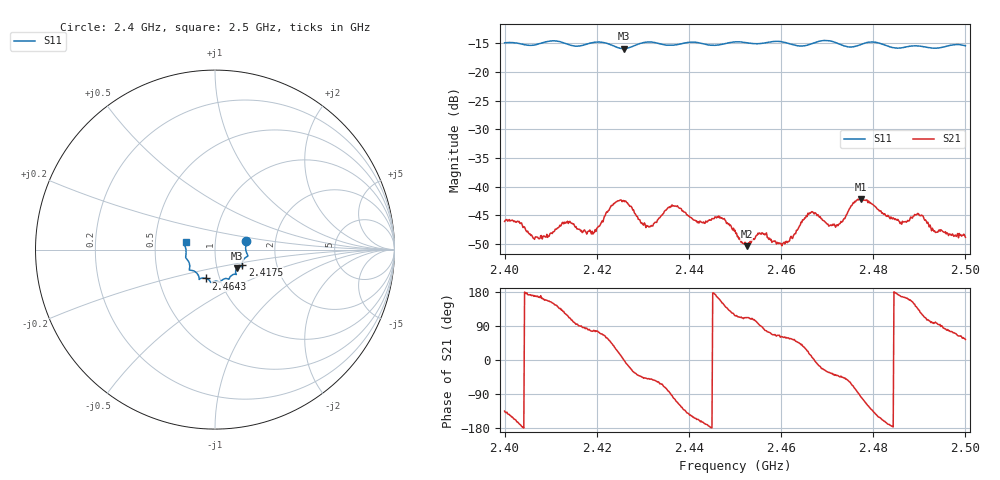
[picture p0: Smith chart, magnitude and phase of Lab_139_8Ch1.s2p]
# Hz S RI R 50
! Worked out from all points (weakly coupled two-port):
!   601 points, 2.4 GHz to 2.5 GHz, reference 50 ohm
!   highest |S21| = -42.12 dB at 2.4773 GHz (marker M1); lowest = -50.4 dB at 2.4525 GHz (marker M2)
!   lowest |S11| = -15.9 dB at 2.4258 GHz (marker M3), VSWR 1.38, Z = 62.3 - j13.2 ohm
!   |S11| at or under -10 dB: start of sweep to end of sweep
!   S12 and S22 are empty: the file has one direction only
!   S11 on the Smith chart (normalised r, x): 2.4 GHz: 1.41, +0.14; 2.4175 GHz: 1.34, -0.23; 2.4643 GHz: 0.86, -0.29; 2.5 GHz: 0.72, +0.06
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2.4e9  0.1728 0.0485  -0.00352 -0.00354  0 0  0 0
2.406667e9  0.1722 -0.00628  -0.00357 0.000766  0 0  0 0
2.413167e9  0.1727 -0.042  -0.00257 0.00407  0 0  0 0
2.416667e9  0.1527 -0.0743  2.09e-05 0.00417  0 0  0 0
2.4175e9  0.1518 -0.0836  0.000517 0.00406  0 0  0 0
2.425833e9  0.1217 -0.1036  0.00757 5.54e-05  0 0  0 0
2.430167e9  0.1176 -0.1372  0.00308 -0.00345  0 0  0 0
2.433333e9  0.1127 -0.1372  0.00281 -0.00438  0 0  0 0
2.436833e9  0.0883 -0.1474  -0.00141 -0.00662  0 0  0 0
2.447e9  0.0402 -0.169  -0.00481 0.00228  0 0  0 0
2.45e9  0.0288 -0.1809  -0.00189 0.00372  0 0  0 0
2.4525e9  0.0203 -0.1789  -0.00113 0.00282  0 0  0 0
2.4555e9  -0.00255 -0.1772  -4.87e-05 0.0039  0 0  0 0
2.4605e9  -0.0251 -0.1809  0.00164 0.00279  0 0  0 0
2.464333e9  -0.0498 -0.1608  0.00375 0.00318  0 0  0 0
2.466667e9  -0.076 -0.1594  0.00601 0.000832  0 0  0 0
2.472167e9  -0.0888 -0.1549  0.00353 -0.00302  0 0  0 0
2.477333e9  -0.1296 -0.1156  -0.00105 -0.00776  0 0  0 0
2.483333e9  -0.1407 -0.0898  -0.00545 -0.000992  0 0  0 0
2.49e9  -0.1633 -0.0408  -0.00369 0.00425  0 0  0 0
2.4935e9  -0.1611 -0.00793  -0.000689 0.00394  0 0  0 0
2.5e9  -0.1639 0.0428  0.00213 0.00294  0 0  0 0
